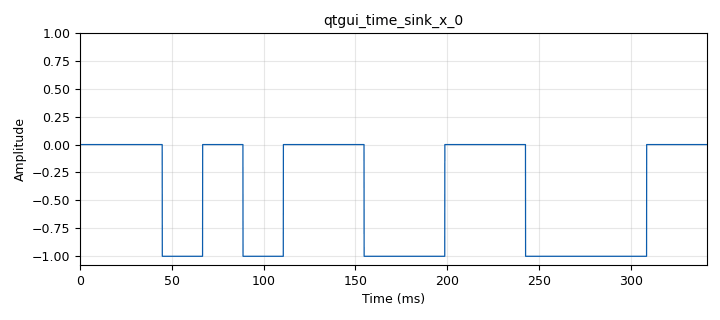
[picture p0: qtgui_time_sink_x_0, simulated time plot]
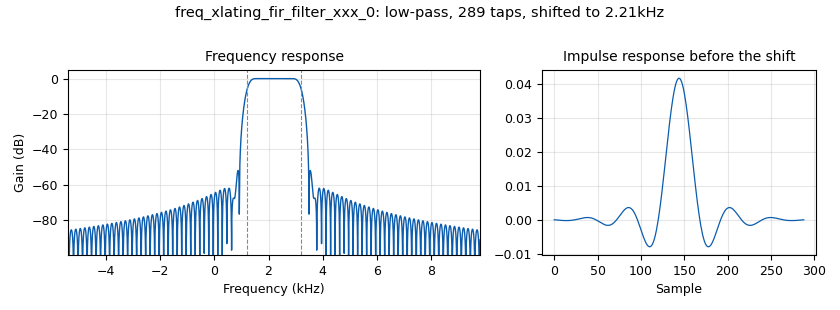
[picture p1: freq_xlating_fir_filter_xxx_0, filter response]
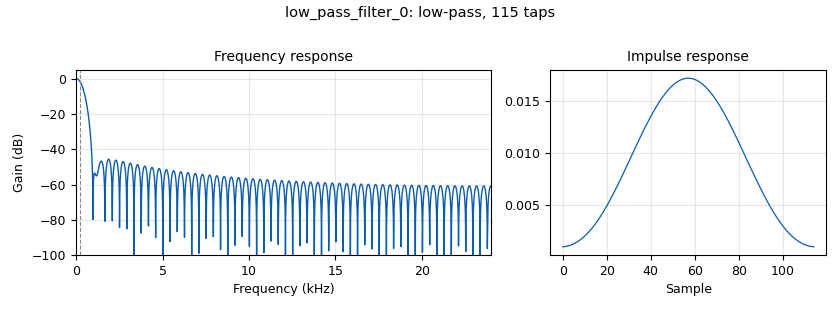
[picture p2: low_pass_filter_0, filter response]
options:
  parameters:
    generate_options: qt_gui
    id: FSK_example
    output_language: python
    title: FSK_example
  states: {}

blocks:
- name: baud
  id: variable
  parameters:
    value: '45.4545'
  states: {}
- name: center
  id: variable
  parameters:
    value: '2210'
  states: {}
- name: delay
  id: variable_qtgui_range
  parameters:
    label: Delay
    orient: Qt.Horizontal
    start: '0'
    step: '1'
    stop: '250'
    value: '200'
  states: {}
- name: fsk_deviation
  id: variable
  parameters:
    value: '170'
  states: {}
- name: inp_amp
  id: variable
  parameters:
    value: '68000000'
  states: {}
- name: repeat
  id: variable
  parameters:
    value: '1056'
  states: {}
- name: samp_rate
  id: variable
  parameters:
    value: '48000'
  states: {}
- name: sq_lvl
  id: variable_qtgui_range
  parameters:
    label: Squelch
    orient: Qt.Horizontal
    start: '-100'
    step: '5'
    stop: '0'
    value: '-70'
  states: {}
- name: vco_max
  id: variable
  parameters:
    value: '2500'
  states: {}
- name: vco_offset
  id: variable
  parameters:
    value: '850000000'
  states: {}
- name: analog_quadrature_demod_cf_0
  id: analog_quadrature_demod_cf
  parameters:
    gain: '128177'
  states: {}
- name: analog_random_source_x_0
  id: analog_random_source_x
  parameters:
    max: '256'
    min: '0'
    num_samps: '1024'
    repeat: 'True'
    type: byte
  states: {}
- name: analog_simple_squelch_cc_0
  id: analog_simple_squelch_cc
  parameters:
    alpha: '1'
    threshold: '-70'
  states: {}
- name: blocks_add_const_vxx_0
  id: blocks_add_const_vxx
  parameters:
    const: '850000000'
    type: float
  states: {}
- name: blocks_delay_0
  id: blocks_delay
  parameters:
    delay: '200'
    type: float
  states: {state: bypassed}
- name: blocks_multiply_const_vxx_0
  id: blocks_multiply_const_vxx
  parameters:
    const: '68000000'
    type: float
  states: {}
- name: blocks_repeat_0
  id: blocks_repeat
  parameters:
    interp: '1056'
    type: byte
  states: {}
- name: blocks_sub_xx_0
  id: blocks_sub_xx
  parameters:
    type: float
  states: {}
- name: blocks_throttle_0
  id: blocks_throttle
  parameters:
    samples_per_second: samp_rate
    type: byte
  states: {}
- name: blocks_uchar_to_float_0
  id: blocks_uchar_to_float
  parameters: {}
  states: {}
- name: blocks_uchar_to_float_0_0
  id: blocks_uchar_to_float
  parameters: {}
  states: {}
- name: blocks_unpack_k_bits_bb_0
  id: blocks_unpack_k_bits_bb
  parameters:
    k: '8'
  states: {}
- name: blocks_vco_f_0
  id: blocks_vco_f
  parameters:
    amplitude: '500000000'
    samp_rate: '48000'
    sensitivity: '15708'
  states: {}
- name: digital_binary_slicer_fb_0
  id: digital_binary_slicer_fb
  parameters: {}
  states: {}
- name: freq_xlating_fir_filter_xxx_0
  id: freq_xlating_fir_filter_xxx
  parameters:
    center_freq: center
    decim: '1'
    samp_rate: samp_rate
    taps: firdes.low_pass(1.0,samp_rate,1000,400)
    type: fcc
  states: {}
- name: low_pass_filter_0
  id: low_pass_filter
  parameters:
    cutoff_freq: '200'
    decim: '1'
    gain: '1'
    samp_rate: samp_rate
    type: fir_filter_fff
    width: '1000'
    win: firdes.WIN_HAMMING
  states: {}
- name: qtgui_time_sink_x_0
  id: qtgui_time_sink_x
  parameters:
    size: '16384'
    srate: samp_rate
    type: float
  states: {}
- name: virtual_sink_0
  id: virtual_sink
  parameters:
    stream_id: xmt_data
  states: {}
- name: virtual_sink_1
  id: virtual_sink
  parameters:
    stream_id: fsk_out
  states: {}
- name: virtual_source_0
  id: virtual_source
  parameters:
    stream_id: xmt_data
  states: {}
- name: virtual_source_1
  id: virtual_source
  parameters:
    stream_id: fsk_out
  states: {}
- name: virtual_source_1_0
  id: virtual_source
  parameters:
    stream_id: xmt_data
  states: {}

connections:
- [analog_quadrature_demod_cf_0, '0', digital_binary_slicer_fb_0, '0']
- [analog_random_source_x_0, '0', blocks_unpack_k_bits_bb_0, '0']
- [analog_simple_squelch_cc_0, '0', analog_quadrature_demod_cf_0, '0']
- [blocks_add_const_vxx_0, '0', blocks_vco_f_0, '0']
- [blocks_delay_0, '0', blocks_sub_xx_0, '1']
- [blocks_multiply_const_vxx_0, '0', blocks_add_const_vxx_0, '0']
- [blocks_repeat_0, '0', blocks_throttle_0, '0']
- [blocks_sub_xx_0, '0', qtgui_time_sink_x_0, '0']
- [blocks_throttle_0, '0', blocks_uchar_to_float_0, '0']
- [blocks_uchar_to_float_0, '0', virtual_sink_0, '0']
- [blocks_uchar_to_float_0_0, '0', blocks_sub_xx_0, '0']
- [blocks_unpack_k_bits_bb_0, '0', blocks_repeat_0, '0']
- [blocks_vco_f_0, '0', virtual_sink_1, '0']
- [digital_binary_slicer_fb_0, '0', blocks_uchar_to_float_0_0, '0']
- [freq_xlating_fir_filter_xxx_0, '0', analog_simple_squelch_cc_0, '0']
- [low_pass_filter_0, '0', blocks_multiply_const_vxx_0, '0']
- [virtual_source_0, '0', low_pass_filter_0, '0']
- [virtual_source_1, '0', freq_xlating_fir_filter_xxx_0, '0']
- [virtual_source_1_0, '0', blocks_delay_0, '0']

metadata:
  file_format: 1
